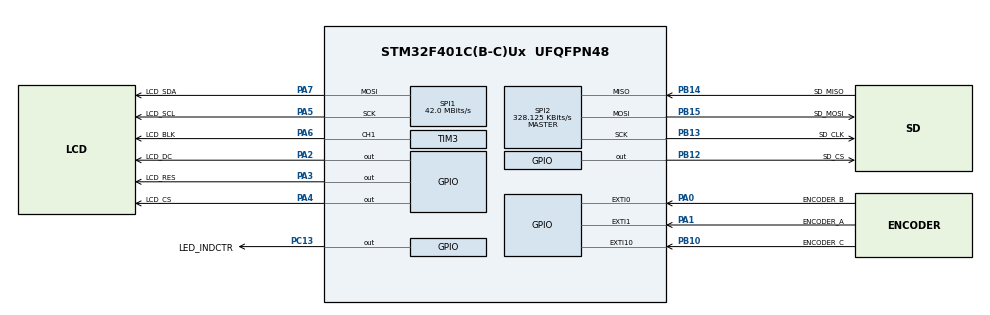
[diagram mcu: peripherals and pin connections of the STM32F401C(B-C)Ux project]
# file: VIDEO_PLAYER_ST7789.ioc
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Dma.Request0=SPI2_RX
Dma.Request1=SPI2_TX
Dma.Request2=SPI1_TX
Dma.SPI1_TX.2.Direction=DMA_MEMORY_TO_PERIPH
Dma.SPI1_TX.2.FIFOMode=DMA_FIFOMODE_ENABLE
Dma.SPI1_TX.2.FIFOThreshold=DMA_FIFO_THRESHOLD_FULL
Dma.SPI1_TX.2.Instance=DMA2_Stream3
Dma.SPI1_TX.2.MemBurst=DMA_MBURST_INC8
Dma.SPI1_TX.2.MemDataAlignment=DMA_MDATAALIGN_HALFWORD
Dma.SPI1_TX.2.MemInc=DMA_MINC_ENABLE
Dma.SPI1_TX.2.Mode=DMA_NORMAL
Dma.SPI1_TX.2.PeriphBurst=DMA_PBURST_SINGLE
Dma.SPI1_TX.2.PeriphDataAlignment=DMA_PDATAALIGN_HALFWORD
Dma.SPI1_TX.2.PeriphInc=DMA_PINC_DISABLE
Dma.SPI1_TX.2.Priority=DMA_PRIORITY_LOW
Dma.SPI2_RX.0.Direction=DMA_PERIPH_TO_MEMORY
Dma.SPI2_RX.0.FIFOMode=DMA_FIFOMODE_ENABLE
Dma.SPI2_RX.0.FIFOThreshold=DMA_FIFO_THRESHOLD_FULL
Dma.SPI2_RX.0.Instance=DMA1_Stream3
Dma.SPI2_RX.0.MemBurst=DMA_MBURST_INC8
Dma.SPI2_RX.0.MemDataAlignment=DMA_MDATAALIGN_BYTE
Dma.SPI2_RX.0.MemInc=DMA_MINC_ENABLE
Dma.SPI2_RX.0.Mode=DMA_NORMAL
Dma.SPI2_RX.0.PeriphBurst=DMA_PBURST_SINGLE
Dma.SPI2_RX.0.PeriphDataAlignment=DMA_PDATAALIGN_BYTE
Dma.SPI2_RX.0.PeriphInc=DMA_PINC_DISABLE
Dma.SPI2_RX.0.Priority=DMA_PRIORITY_MEDIUM
Dma.SPI2_TX.1.Direction=DMA_MEMORY_TO_PERIPH
Dma.SPI2_TX.1.FIFOMode=DMA_FIFOMODE_ENABLE
Dma.SPI2_TX.1.FIFOThreshold=DMA_FIFO_THRESHOLD_FULL
Dma.SPI2_TX.1.Instance=DMA1_Stream4
Dma.SPI2_TX.1.MemBurst=DMA_MBURST_INC8
Dma.SPI2_TX.1.MemDataAlignment=DMA_MDATAALIGN_BYTE
Dma.SPI2_TX.1.MemInc=DMA_MINC_ENABLE
Dma.SPI2_TX.1.Mode=DMA_NORMAL
Dma.SPI2_TX.1.PeriphBurst=DMA_PBURST_SINGLE
Dma.SPI2_TX.1.PeriphDataAlignment=DMA_PDATAALIGN_BYTE
Dma.SPI2_TX.1.PeriphInc=DMA_PINC_DISABLE
Dma.SPI2_TX.1.Priority=DMA_PRIORITY_MEDIUM
Mcu.Family=STM32F4
Mcu.Name=STM32F401C(B-C)Ux
Mcu.Package=UFQFPN48
NVIC.DMA1_Stream3_IRQn=true\:2\:0\:true\:false\:true\:false\:true\:true
NVIC.DMA1_Stream4_IRQn=true\:2\:0\:true\:false\:true\:false\:true\:true
NVIC.DMA2_Stream3_IRQn=true\:3\:0\:true\:false\:true\:false\:true\:true
NVIC.EXTI0_IRQn=true\:1\:0\:true\:false\:true\:true\:true\:true
NVIC.EXTI15_10_IRQn=true\:1\:0\:true\:false\:true\:true\:true\:true
NVIC.EXTI1_IRQn=true\:1\:0\:true\:false\:true\:true\:true\:true
NVIC.PriorityGroup=NVIC_PRIORITYGROUP_4
PA0-WKUP.GPIO_Label=ENCODER_B
PA0-WKUP.GPIO_ModeDefaultEXTI=GPIO_MODE_IT_RISING_FALLING
PA0-WKUP.GPIO_PuPd=GPIO_PULLUP
PA0-WKUP.Signal=GPXTI0
PA1.GPIO_Label=ENCODER_A
PA1.GPIO_ModeDefaultEXTI=GPIO_MODE_IT_RISING_FALLING
PA1.GPIO_PuPd=GPIO_PULLUP
PA1.Signal=GPXTI1
PA13.Mode=Serial_Wire
PA13.Signal=SYS_JTMS-SWDIO
PA14.Mode=Serial_Wire
PA14.Signal=SYS_JTCK-SWCLK
PA2.GPIO_Label=LCD_DC
PA2.GPIO_Speed=GPIO_SPEED_FREQ_HIGH
PA2.PinState=GPIO_PIN_SET
PA2.Signal=GPIO_Output
PA3.GPIO_Label=LCD_RES
PA3.GPIO_Speed=GPIO_SPEED_FREQ_HIGH
PA3.PinState=GPIO_PIN_SET
PA3.Signal=GPIO_Output
PA4.GPIO_Label=LCD_CS
PA4.GPIO_PuPd=GPIO_PULLUP
PA4.GPIO_Speed=GPIO_SPEED_FREQ_HIGH
PA4.PinState=GPIO_PIN_SET
PA4.Signal=GPIO_Output
PA5.GPIO_Label=LCD_SCL
PA5.GPIO_PuPd=GPIO_PULLUP
PA5.Mode=TX_Only_Simplex_Unidirect_Master
PA5.Signal=SPI1_SCK
PA6.GPIO_Label=LCD_BLK
PA6.Signal=S_TIM3_CH1
PA7.GPIO_Label=LCD_SDA
PA7.GPIO_PuPd=GPIO_PULLUP
PA7.Mode=TX_Only_Simplex_Unidirect_Master
PA7.Signal=SPI1_MOSI
PB10.GPIO_Label=ENCODER_C
PB10.GPIO_ModeDefaultEXTI=GPIO_MODE_IT_RISING_FALLING
PB10.GPIO_PuPd=GPIO_PULLUP
PB10.Signal=GPXTI10
PB12.GPIO_Label=SD_CS
PB12.GPIO_PuPd=GPIO_PULLUP
PB12.GPIO_Speed=GPIO_SPEED_FREQ_HIGH
PB12.PinState=GPIO_PIN_SET
PB12.Signal=GPIO_Output
PB13.GPIO_Label=SD_CLK
PB13.GPIO_PuPd=GPIO_PULLUP
PB13.Mode=Full_Duplex_Master
PB13.Signal=SPI2_SCK
PB14.GPIO_Label=SD_MISO
PB14.GPIO_PuPd=GPIO_PULLUP
PB14.Mode=Full_Duplex_Master
PB14.Signal=SPI2_MISO
PB15.GPIO_Label=SD_MOSI
PB15.GPIO_PuPd=GPIO_PULLUP
PB15.Mode=Full_Duplex_Master
PB15.Signal=SPI2_MOSI
PC13-ANTI_TAMP.GPIO_Label=LED_INDCTR
PC13-ANTI_TAMP.PinState=GPIO_PIN_SET
PC13-ANTI_TAMP.Signal=GPIO_Output
PH0\ -\ OSC_IN.Mode=HSE-External-Oscillator
PH0\ -\ OSC_IN.Signal=RCC_OSC_IN
PH1\ -\ OSC_OUT.Mode=HSE-External-Oscillator
PH1\ -\ OSC_OUT.Signal=RCC_OSC_OUT
ProjectManager.HeapSize=0x200
ProjectManager.StackSize=0x400
ProjectManager.TargetToolchain=STM32CubeIDE
RCC.48MHZClocksFreq_Value=42000000
RCC.AHBFreq_Value=84000000
RCC.APB1CLKDivider=RCC_HCLK_DIV2
RCC.APB1Freq_Value=42000000
RCC.APB1TimFreq_Value=84000000
RCC.APB2Freq_Value=84000000
RCC.APB2TimFreq_Value=84000000
RCC.CortexFreq_Value=84000000
RCC.EnbaleCSS=true
RCC.HCLKFreq_Value=84000000
RCC.HSE_VALUE=25000000
RCC.HSI_VALUE=16000000
RCC.LSE_VALUE=32768
RCC.PLLM=25
RCC.PLLN=168
RCC.PLLSourceVirtual=RCC_PLLSOURCE_HSE
RCC.SYSCLKFreq_VALUE=84000000
RCC.SYSCLKSource=RCC_SYSCLKSOURCE_PLLCLK
RCC.VCOOutputFreq_Value=168000000
RCC.VDD_VALUE=3.3
SH.S_TIM3_CH1.0=TIM3_CH1,PWM Generation1 CH1
SPI1.CLKPolarity=SPI_POLARITY_HIGH
SPI1.CalculateBaudRate=42.0 MBits/s
SPI1.DataSize=SPI_DATASIZE_16BIT
SPI1.Direction=SPI_DIRECTION_2LINES
SPI1.Mode=SPI_MODE_MASTER
SPI1.VirtualType=VM_MASTER
SPI2.BaudRatePrescaler=SPI_BAUDRATEPRESCALER_128
SPI2.CalculateBaudRate=328.125 KBits/s
SPI2.DataSize=SPI_DATASIZE_8BIT
SPI2.Direction=SPI_DIRECTION_2LINES
SPI2.Mode=SPI_MODE_MASTER
SPI2.VirtualType=VM_MASTER
TIM3.Channel-PWM\ Generation1\ CH1=TIM_CHANNEL_1
TIM3.Period=209
TIM3.Prescaler=999
TIM3.Pulse-PWM\ Generation1\ CH1=105
board=custom

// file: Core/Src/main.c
/* USER CODE BEGIN Header */
/*
  * Copyright (C)2019-2023, VadRov, all rights reserved.
  *
  * Video player for playing AVI files (file with avi extension, riff container)
  *
  * Free distribution allowed.
  * For any method of distribution, attribution to the author is MANDATORY.
  * In case of changes and distribution of modifications, the indication of the original author is MANDATORY.
  * Distributed “as is”, that is, use is at your own peril and risk.
  * The author does not provide any guarantees.
  *
  * AVI format requirements:
  * - mjpeg (motion jpeg) video stream, i.e. video frames must be encoded with a jpeg codec;
  * - mp3 audio stream, i.e. The sound must be encoded with an mp3 codec.
  *
  * Select the image frame size based on the parameters of your existing display.
  * To convert a video file to a format supported by the player, it is recommended to use
  * ffmpeg library. For example, the following command line will convert mp4 video to
  * avi format supported by the player with a frame size of 320x240, a frequency of 25 frames per second,
  * with encoding quality 15:
  * ffmpeg -i video.mp4 -c:a mp3 -c:v mjpeg -s 320x240 -r 25 -q 15 video.avi
  *  Where:
  * -i video.mp4 - pointing to the source file that you want to convert to a supported one
  * player avi format;
  * video.avi - output file with the avi extension in which the conversion result will be saved;
  * -c:a mp3 - an indication that the “sound track” (audio stream) in the output file should be in
  * mp3 codec format;
  * -c:v mjpeg - an indication that the “video track” (video stream) in the output file should be in the format
  * mjpeg codec (a set of pictures encoded with the jpeg codec, so-called motion jpeg);
  * -s 320x240 - indication of the video frame size in the output avi file (width, height);
  * -r 25 - indication of the frequency of video frames in the output avi file (frames per second);
  * -q 15 - indicates the encoding quality of the avi file (from 1 (best) to 31 (worst)).
  * Sound quality can be set with the -b key, meaning bitrate (bit/s).
  * For example, a switch such as -b:a 128k will set the audio stream to 128 kbps, which is considered
  * for an entry-level mp3 codec when encoding music data (32-96 kbps is enough for
  * speech coding, and from 96 kbit/s and more - low quality music). A stream of 256 kbit/s is sufficient
  * for high quality music when encoding mp3. 320 kbps is the limit for the mp3 codec.
  * When converting videos, consider the aspect ratio of the original video. For example, if
  * the original video had an aspect ratio of 16:9, then when using a display with a width of 320
  * pixels, the height of the output frame should be 180 pixels. Those. parameter s for given
  * example must be specified as 320x180. If the aspect ratio of the original frame is 4:3, then when
  * When using a 320 pixel wide display, the output frame height should be 240 pixels.
  * That is the s parameter for this example should be specified as 320x240.
  * Parameter q determines the encoding quality and can take values from 1 to 31. With increasing
  * q quality decreases, and with decrease it increases. This parameter naturally affects
  * on the performance of the software jpeg decoder. The golden mean of this parameter is 15-20. At value 15
  * for stm32f401ccu6 operating at a frequency of 84 MHz, the jpeg decoder for a frame size 320x240 shows
  * performance from 11 to 25 frames per second (40 - 90 ms to decode one image frame),
  * simultaneously decoding mp3 stream.
  * The player provides good synchronization of audio and video streams. Moreover, the calculation of time
  * playback, and, accordingly, synchronization of audio with video is carried out by interruptions
  * DMA stream serving DAC. In the interrupt of the DMA thread serving the DAC, the counter is incremented
  * playback duration, calculated from audio frames, by the amount of audio playback duration
  * frame, determined by the formula:
  *d = 1000000 *samples/samplerate,
  * where samples is the number of samples in the frame, samplerate is the sampling/sampling frequency (Hz),
  * d - duration of playback of a sound frame (μs).
  * Thus, playback is not tied to real time. Progression of the player's internal time
  * sets the clocking of the I2S module. The discrepancy from real time is determined by the difference between the given
  * and actual sampling/sampling frequency. So, for a sampling frequency of 44100 Hz, the real
  *sampling frequency is 44100.46875 Hz with 16-bit data format and 44099.50781 Hz
  * with 32-bit data format when using a 25 MHz quartz resonator and a built-in module
  * I2S PLL stm32f401ccu6. Those. in both cases the error does not exceed 0.0011% (see table 91, RM0368 REV 5).
  * Synchronization of audio and video is carried out within the display time of one video frame. This time
 *  https://www.youtube.com/@VadRov
 *  https://dzen.ru/vadrov
 *  https://vk.com/vadrov
 *  https://t.me/vadrov_channel
 */
/* USER CODE END Header */
#include "main.h"

/* USER CODE BEGIN Includes */
#include "display.h" 		//display driver
#include "st7789.h"
#include "ili9341.h" 		//display support based on ili9341 controller
#include "pcm5102.h" 		//DAC driver PCM5102
#include "ff.h"		 		//FatFS library
#include "avi.h"	 		//AVI player
#include "filemanager.h"	//file manager
#include "keyboard.h"		//module for working with buttons
#include "encoder.h"		//encoder driver
/* USER CODE END Includes */

/* USER CODE BEGIN PTD */

//counter of "system time", ms
volatile uint32_t millis = 0;

//Variables for the FatFs library
char Path[4];
FATFS FatFS;

//Encoder handler
ENCODER_Handler encoder1;

/* USER CODE END PTD */

void SystemClock_Config(void);
static void MX_GPIO_Init(void);
static void MX_DMA_Init(void);
static void MX_SPI2_Init(void);
static void MX_SPI1_Init(void);
static void MX_TIM3_Init(void);

/* USER CODE BEGIN 0 */

static void DWT_init (void)
{
	if (!(CoreDebug->DEMCR & CoreDebug_DEMCR_TRCENA_Msk))	{
		CoreDebug->DEMCR |= CoreDebug_DEMCR_TRCENA_Msk;
	#ifdef __CORE_CM7_H_GENERIC
	        DWT->LAR = 0xC5ACCE55;  //unlocking access to the DWT register
	#endif
	   DWT->CYCCNT = 0;
	   DWT->CTRL |= DWT_CTRL_CYCCNTENA_Msk;
	}
}

/* USER CODE END 0 */

int main(void)
{

  /* USER CODE BEGIN 1 */
	/* enable instruction caching */
	#if (INSTRUCTION_CACHE_ENABLE != 0U)
	((FLASH_TypeDef *) ((0x40000000UL + 0x00020000UL) + 0x3C00UL))->ACR |= (0x1UL << (9U));
	#endif
	/* enable data caching */
	#if (DATA_CACHE_ENABLE != 0U)
	((FLASH_TypeDef *) ((0x40000000UL + 0x00020000UL) + 0x3C00UL))->ACR |= (0x1UL << (10U));
	#endif
	/* enable the instruction prefetching system */
	#if (PREFETCH_ENABLE != 0U)
	((FLASH_TypeDef *) ((0x40000000UL + 0x00020000UL) + 0x3C00UL))->ACR |= (0x1UL << (8U));
	#endif
  /* USER CODE END 1 */

  /* MCU Configuration--------------------------------------------------------*/

  /* Reset of all peripherals, Initializes the Flash interface and the Systick. */
  LL_APB2_GRP1_EnableClock(LL_APB2_GRP1_PERIPH_SYSCFG);
  LL_APB1_GRP1_EnableClock(LL_APB1_GRP1_PERIPH_PWR);

  /* System interrupt init*/
  NVIC_SetPriorityGrouping(NVIC_PRIORITYGROUP_4);

  /* SysTick_IRQn interrupt configuration */
  NVIC_SetPriority(SysTick_IRQn, NVIC_EncodePriority(NVIC_GetPriorityGrouping(),15, 0));

  /* Configure the system clock */
  SystemClock_Config();

  /* USER CODE BEGIN SysInit */
  //set up the system timer (interrupts 1000 times per second)
  SysTick_Config(SystemCoreClock/1000);
  /* USER CODE END SysInit */

  /* Initialize all configured peripherals */
  MX_GPIO_Init();
  MX_DMA_Init();
  MX_SPI2_Init();
  MX_SPI1_Init();
  MX_TIM3_Init();
  /* USER CODE BEGIN 2 */

  //Initialize I2S3
  Init_DAC();
    //Setup_DAC(SPI3, 44100, LL_I2S_DATAFORMAT_16B);

  DWT_init();

	//-------------------Setting parameters and initializing the display ---------------------
	LCD_BackLight_data bl_dat = { .htim_bk = TIM3,
		  	  	  	  	  	  	  .channel_htim_bk = LL_TIM_CHANNEL_CH1,
    							  .blk_port = 0,
    							  .blk_pin = 0,
    							  .bk_percent = 100 };

	LCD_DMA_TypeDef hdma_spi1_tx = { .dma = DMA2,
		  	  	  	  	  	  	     .stream = LL_DMA_STREAM_3 };

	LCD_SPI_Connected_data spi_dat = { .spi = SPI1,
  		  							   .dma_tx = hdma_spi1_tx,
   									   .reset_port = LCD_RES_GPIO_Port,
   									   .reset_pin = LCD_RES_Pin,
   									   .dc_port = LCD_DC_GPIO_Port,
   									   .dc_pin = LCD_DC_Pin,
   									   .cs_port = LCD_CS_GPIO_Port,
   									   .cs_pin = LCD_CS_Pin  };
	#ifndef LCD_DYNAMIC_MEM
	LCD_Handler lcd1;
	#endif

	//For display on controller ST7789 170x320
	//ffmpeg -i che.mp4 -c:a mp3 -c:v mjpeg -s 320x170 -r 23.98 -q 10 che.avi
	LCD = LCD_DisplayAdd( LCD,
	#ifndef LCD_DYNAMIC_MEM
			  	  	  	  	&lcd1,
	#endif
			  	  	  	  	170,//170
			   				320,//320
							ST7789_CONTROLLER_WIDTH,
							ST7789_CONTROLLER_HEIGHT,
							//Задаем смещение по ширине и высоте для нестандартных или бракованных дисплеев:
							-35,//-35
							0,//0
							PAGE_ORIENTATION_LANDSCAPE,// PAGE_ORIENTATION_LANDSCAPE
							ST7789_Init,
							ST7789_SetWindow,
							ST7789_SleepIn,
							ST7789_SleepOut,
							&spi_dat,
							LCD_DATA_16BIT_BUS,
							bl_dat);

	/*
	//For display on controller ST7789 135x240
	//ffmpeg -i che.mp4 -c:a mp3 -c:v mjpeg -s 240x135 -r 23.98 -q 10 che.avi
	LCD = LCD_DisplayAdd( LCD,
	#ifndef LCD_DYNAMIC_MEM
			  	  	  	  	&lcd1,
	#endif
			  	  	  	  	135,//170
			   				240,//320
							ST7789_CONTROLLER_WIDTH,
							ST7789_CONTROLLER_HEIGHT,
							//Задаем смещение по ширине и высоте для нестандартных или бракованных дисплеев:
							-53,//-35
							40,//0
							PAGE_ORIENTATION_LANDSCAPE,// PAGE_ORIENTATION_LANDSCAPE
							ST7789_Init,
							ST7789_SetWindow,
							ST7789_SleepIn,
							ST7789_SleepOut,
							&spi_dat,
							LCD_DATA_16BIT_BUS,
							bl_dat);
	*/

	/*
	//For display on controller ILI9341
	LCD = LCD_DisplayAdd( LCD,
	#ifndef LCD_DYNAMIC_MEM
		  	  	  	  	  &lcd1,
	#endif
		  	  	  	  	  320,
		   				  240,
						  ILI9341_CONTROLLER_WIDTH,
						  ILI9341_CONTROLLER_HEIGHT,
						  //Set the offset in width and height for non-standard or defective displays:
						  0,		//display matrix width offset
						  0,		//display matrix height offset
						  //PAGE_ORIENTATION_PORTRAIT,
						  //PAGE_ORIENTATION_PORTRAIT_MIRROR,
						  PAGE_ORIENTATION_LANDSCAPE_MIRROR,
						  ILI9341_Init,
						  ILI9341_SetWindow,
						  ILI9341_SleepIn,
						  ILI9341_SleepOut,
						  &spi_dat,
						  LCD_DATA_16BIT_BUS,
						  bl_dat );
	*/

	LCD_Handler *lcd = LCD; //pointer to the first display in the list
	LCD_Init(lcd);
	LCD_Fill(lcd, 0x319bb1);
	//------------------------------------------------------------------------------------------

	//----------------------------------- Mounting the disc -----------------------------------
	(void)f_mount(&FatFS, Path, 0);
	//------------------------------------------------------------------------------------------

	/* ----------------------------Setting up a file manager ---------------------------- */
	/* Define a color scheme */
	File_Manager_Color_Scheme color_scheme_pl = { COLOR_YELLOW,		/* directory name text color */
			  	  	  	  	  	  	  	  	  	  COLOR_WHITE,		/* file name text color */
												  COLOR_BLACK,		/* text color of the selected file/directory */
												  0x319bb1,			/* manager window background color (for empty lines) */
												  0x319bb1,			/* background color of even rows */
												  0x319bb1,			/* background color of odd rows */
												  COLOR_LIGHTGREY,	/* cursor color of the current file/directory */
												  COLOR_LIGHTGREY,	/* vertical scroll slider color */
												  0x319bb1,			/* vertical scroll bar color */
												  1					/* cursor color flag:
																  	  	  0 - the text of the selected file/directory is circled
																  	  	  	  cursor color rectangle (cursor_color).
														 	 	  	  	  >0 -the text background of the selected file/directory is equal to
														 	 	  	  	  	  cursor color (cursor_color) */
												 	 };

	File_Manager_Handler *fm = FileManagerNew();	/* Creating a File Manager Handler */
	fm->SetDisplay(fm, lcd);						/* Display showing the file manager (pointer) */
	fm->SetWin(fm, 6, 0, lcd->Width-6, lcd->Height);/* File manager window options:
	  	  	  	  	  	  	  	  	  	  	  	  	   - horizontal position of the upper left corner of the window;
	  	  	  	  	  	  	  	  	  	  	  	  	   - vertical position of the upper left corner of the window;
	  	  	  	  	  	  	  	  	  	  	  	  	   - window width;
	  	  	  	  	  	  	  	  	  	  	  	  	   - window height. */
	fm->SetColor(fm, &color_scheme_pl);				 /* Color scheme (index) */
	fm->SetFont(fm, &Font_12x20);					 /* Font (pointer) */
	fm->SetKeys(fm, KEYB_UP, KEYB_DOWN, KEYB_RIGHT); /* Control buttons:
	   	   	   	   	   	   	   	   	   	   	   	   	    - button bit number up;
	   	   	   	   	   	   	   	   	   	   	   	   	    - button bit number down;
	   	   	   	   	   	   	   	   	   	   	   	   	    - bit number of the enter/select button. */
	//-----------------------------------------------------------------------------------------

	//---------------------------------- Encoder settings ----------- -----------------------
	//We will work with the Keyboard module and emulate pressing buttons for it via
	//special function that connects the encoder handler with the module for working with buttons.
	//This role is played by the EncoderEventToKeyboard function, located in the file stm32f4xx_it.c
	KEYB_all_button = 3; //Using 3 buttons for the Keyboard module
	//Initializing the encoder handler
	EncoderInit(&encoder1,
				ENCODER_A_GPIO_Port,
				ENCODER_A_Pin,
				ENCODER_B_GPIO_Port,
				ENCODER_B_Pin,
				ENCODER_C_GPIO_Port,
				ENCODER_C_Pin);
	EncoderSetInversion(&encoder1, ENCODER_INV_OFF); //If the encoder works in the opposite direction
													 //from the expected direction, then here you can set
													 //inversion for the encoder by passing the ENCODER_INV_ON parameter to the function.
													 //This will avoid reconnecting encoder pins A and B.
	//------------------------------------------------------------------------------------------

	//Splash screen with information about the program and author
	//AVIIntro(lcd);
	LL_mDelay(50);
	uint8_t f_popup = 1;
  /* USER CODE END 2 */

  /* Infinite loop */
  /* USER CODE BEGIN WHILE */
    while (1)
    {
    	/* Fill the display with blue (the background color of the file manager) */
    	LCD_Fill(lcd, 0x319bb1);
    	/* "Pop-up" window of the file manager */
		if (f_popup) {
			FileManagerPopupWin(fm, 5);
			f_popup = 0;
		}
		/* Launch file manager */
		fm->Show(fm);
		/* Check the shutdown status of the file manager */
		if (fm->GetStatus(fm) == File_Manager_OK) { /* Completing without errors with file selection? */
			/* Launch the video player */
			PlayAVI(fm->GetFilePath(fm), fm->GetFileName(fm), lcd, 0, 0, lcd->Width, lcd->Height);
		}
		else {
			/* Display a message that the file manager completed with an error */
			LCD_WriteString(lcd, 20, 0, "Error FileManager!", fm->font, fm->color_scheme->text_color_file, fm->color_scheme->bg_color, LCD_SYMBOL_PRINT_FAST);
			/* Wait for any button to be pressed */
			while(!KEYB_kbhit()) { }
		}

    /* USER CODE END WHILE */

    }
}

void SystemClock_Config(void)
{
  LL_FLASH_SetLatency(LL_FLASH_LATENCY_2);
  while(LL_FLASH_GetLatency()!= LL_FLASH_LATENCY_2)
  {
  }
  LL_PWR_SetRegulVoltageScaling(LL_PWR_REGU_VOLTAGE_SCALE2);
  LL_RCC_HSE_Enable();

   /* Wait till HSE is ready */
  while(LL_RCC_HSE_IsReady() != 1)
  {

  }
  LL_RCC_HSE_EnableCSS();
  LL_RCC_PLL_ConfigDomain_SYS(LL_RCC_PLLSOURCE_HSE, LL_RCC_PLLM_DIV_25, 168, LL_RCC_PLLP_DIV_2);
  LL_RCC_PLL_Enable();

   /* Wait till PLL is ready */
  while(LL_RCC_PLL_IsReady() != 1)
  {

  }
  while (LL_PWR_IsActiveFlag_VOS() == 0)
  {
  }
  LL_RCC_SetAHBPrescaler(LL_RCC_SYSCLK_DIV_1);
  LL_RCC_SetAPB1Prescaler(LL_RCC_APB1_DIV_2);
  LL_RCC_SetAPB2Prescaler(LL_RCC_APB2_DIV_1);
  LL_RCC_SetSysClkSource(LL_RCC_SYS_CLKSOURCE_PLL);

   /* Wait till System clock is ready */
  while(LL_RCC_GetSysClkSource() != LL_RCC_SYS_CLKSOURCE_STATUS_PLL)
  {

  }
  LL_Init1msTick(84000000);
  LL_SetSystemCoreClock(84000000);
  LL_RCC_SetTIMPrescaler(LL_RCC_TIM_PRESCALER_TWICE);
}

static void MX_SPI1_Init(void)
{

  LL_SPI_InitTypeDef SPI_InitStruct = {0};

  LL_GPIO_InitTypeDef GPIO_InitStruct = {0};

  /* Peripheral clock enable */
  LL_APB2_GRP1_EnableClock(LL_APB2_GRP1_PERIPH_SPI1);

  LL_AHB1_GRP1_EnableClock(LL_AHB1_GRP1_PERIPH_GPIOA);
  /**SPI1 GPIO Configuration
  PA5   ------> SPI1_SCK
  PA7   ------> SPI1_MOSI
  */
  GPIO_InitStruct.Pin = LCD_SCL_Pin|LCD_SDA_Pin;
  GPIO_InitStruct.Mode = LL_GPIO_MODE_ALTERNATE;
  GPIO_InitStruct.Speed = LL_GPIO_SPEED_FREQ_VERY_HIGH;
  GPIO_InitStruct.OutputType = LL_GPIO_OUTPUT_PUSHPULL;
  GPIO_InitStruct.Pull = LL_GPIO_PULL_UP;
  GPIO_InitStruct.Alternate = LL_GPIO_AF_5;
  LL_GPIO_Init(GPIOA, &GPIO_InitStruct);

  /* SPI1 DMA Init */

  /* SPI1_TX Init */
  LL_DMA_SetChannelSelection(DMA2, LL_DMA_STREAM_3, LL_DMA_CHANNEL_3);

  LL_DMA_SetDataTransferDirection(DMA2, LL_DMA_STREAM_3, LL_DMA_DIRECTION_MEMORY_TO_PERIPH);

  LL_DMA_SetStreamPriorityLevel(DMA2, LL_DMA_STREAM_3, LL_DMA_PRIORITY_LOW);

  LL_DMA_SetMode(DMA2, LL_DMA_STREAM_3, LL_DMA_MODE_NORMAL);

  LL_DMA_SetPeriphIncMode(DMA2, LL_DMA_STREAM_3, LL_DMA_PERIPH_NOINCREMENT);

  LL_DMA_SetMemoryIncMode(DMA2, LL_DMA_STREAM_3, LL_DMA_MEMORY_INCREMENT);

  LL_DMA_SetPeriphSize(DMA2, LL_DMA_STREAM_3, LL_DMA_PDATAALIGN_HALFWORD);

  LL_DMA_SetMemorySize(DMA2, LL_DMA_STREAM_3, LL_DMA_MDATAALIGN_HALFWORD);

  LL_DMA_EnableFifoMode(DMA2, LL_DMA_STREAM_3);

  LL_DMA_SetFIFOThreshold(DMA2, LL_DMA_STREAM_3, LL_DMA_FIFOTHRESHOLD_FULL);

  LL_DMA_SetMemoryBurstxfer(DMA2, LL_DMA_STREAM_3, LL_DMA_MBURST_INC8);

  LL_DMA_SetPeriphBurstxfer(DMA2, LL_DMA_STREAM_3, LL_DMA_PBURST_SINGLE);

  /* SPI1 parameter configuration*/
  SPI_InitStruct.TransferDirection = LL_SPI_FULL_DUPLEX;
  SPI_InitStruct.Mode = LL_SPI_MODE_MASTER;
  SPI_InitStruct.DataWidth = LL_SPI_DATAWIDTH_16BIT;
  SPI_InitStruct.ClockPolarity = LL_SPI_POLARITY_HIGH;
  SPI_InitStruct.ClockPhase = LL_SPI_PHASE_1EDGE;
  SPI_InitStruct.NSS = LL_SPI_NSS_SOFT;
  SPI_InitStruct.BaudRate = LL_SPI_BAUDRATEPRESCALER_DIV2;
  SPI_InitStruct.BitOrder = LL_SPI_MSB_FIRST;
  SPI_InitStruct.CRCCalculation = LL_SPI_CRCCALCULATION_DISABLE;
  SPI_InitStruct.CRCPoly = 10;
  LL_SPI_Init(SPI1, &SPI_InitStruct);
  LL_SPI_SetStandard(SPI1, LL_SPI_PROTOCOL_MOTOROLA);

}

static void MX_SPI2_Init(void)
{

  LL_SPI_InitTypeDef SPI_InitStruct = {0};

  LL_GPIO_InitTypeDef GPIO_InitStruct = {0};

  /* Peripheral clock enable */
  LL_APB1_GRP1_EnableClock(LL_APB1_GRP1_PERIPH_SPI2);

  LL_AHB1_GRP1_EnableClock(LL_AHB1_GRP1_PERIPH_GPIOB);
  /**SPI2 GPIO Configuration
  PB13   ------> SPI2_SCK
  PB14   ------> SPI2_MISO
  PB15   ------> SPI2_MOSI
  */
  GPIO_InitStruct.Pin = SD_CLK_Pin|SD_MISO_Pin|SD_MOSI_Pin;
  GPIO_InitStruct.Mode = LL_GPIO_MODE_ALTERNATE;
  GPIO_InitStruct.Speed = LL_GPIO_SPEED_FREQ_VERY_HIGH;
  GPIO_InitStruct.OutputType = LL_GPIO_OUTPUT_PUSHPULL;
  GPIO_InitStruct.Pull = LL_GPIO_PULL_UP;
  GPIO_InitStruct.Alternate = LL_GPIO_AF_5;
  LL_GPIO_Init(GPIOB, &GPIO_InitStruct);

  /* SPI2 DMA Init */

  /* SPI2_RX Init */
  LL_DMA_SetChannelSelection(DMA1, LL_DMA_STREAM_3, LL_DMA_CHANNEL_0);

  LL_DMA_SetDataTransferDirection(DMA1, LL_DMA_STREAM_3, LL_DMA_DIRECTION_PERIPH_TO_MEMORY);

  LL_DMA_SetStreamPriorityLevel(DMA1, LL_DMA_STREAM_3, LL_DMA_PRIORITY_MEDIUM);

  LL_DMA_SetMode(DMA1, LL_DMA_STREAM_3, LL_DMA_MODE_NORMAL);

  LL_DMA_SetPeriphIncMode(DMA1, LL_DMA_STREAM_3, LL_DMA_PERIPH_NOINCREMENT);

  LL_DMA_SetMemoryIncMode(DMA1, LL_DMA_STREAM_3, LL_DMA_MEMORY_INCREMENT);

  LL_DMA_SetPeriphSize(DMA1, LL_DMA_STREAM_3, LL_DMA_PDATAALIGN_BYTE);

  LL_DMA_SetMemorySize(DMA1, LL_DMA_STREAM_3, LL_DMA_MDATAALIGN_BYTE);

  LL_DMA_EnableFifoMode(DMA1, LL_DMA_STREAM_3);

  LL_DMA_SetFIFOThreshold(DMA1, LL_DMA_STREAM_3, LL_DMA_FIFOTHRESHOLD_FULL);

  LL_DMA_SetMemoryBurstxfer(DMA1, LL_DMA_STREAM_3, LL_DMA_MBURST_INC8);

  LL_DMA_SetPeriphBurstxfer(DMA1, LL_DMA_STREAM_3, LL_DMA_PBURST_SINGLE);

  /* SPI2_TX Init */
  LL_DMA_SetChannelSelection(DMA1, LL_DMA_STREAM_4, LL_DMA_CHANNEL_0);

  LL_DMA_SetDataTransferDirection(DMA1, LL_DMA_STREAM_4, LL_DMA_DIRECTION_MEMORY_TO_PERIPH);

  LL_DMA_SetStreamPriorityLevel(DMA1, LL_DMA_STREAM_4, LL_DMA_PRIORITY_MEDIUM);

  LL_DMA_SetMode(DMA1, LL_DMA_STREAM_4, LL_DMA_MODE_NORMAL);

  LL_DMA_SetPeriphIncMode(DMA1, LL_DMA_STREAM_4, LL_DMA_PERIPH_NOINCREMENT);

  LL_DMA_SetMemoryIncMode(DMA1, LL_DMA_STREAM_4, LL_DMA_MEMORY_INCREMENT);

  LL_DMA_SetPeriphSize(DMA1, LL_DMA_STREAM_4, LL_DMA_PDATAALIGN_BYTE);

  LL_DMA_SetMemorySize(DMA1, LL_DMA_STREAM_4, LL_DMA_MDATAALIGN_BYTE);

  LL_DMA_EnableFifoMode(DMA1, LL_DMA_STREAM_4);

  LL_DMA_SetFIFOThreshold(DMA1, LL_DMA_STREAM_4, LL_DMA_FIFOTHRESHOLD_FULL);

  LL_DMA_SetMemoryBurstxfer(DMA1, LL_DMA_STREAM_4, LL_DMA_MBURST_INC8);

  LL_DMA_SetPeriphBurstxfer(DMA1, LL_DMA_STREAM_4, LL_DMA_PBURST_SINGLE);

  /* SPI2 parameter configuration*/
  SPI_InitStruct.TransferDirection = LL_SPI_FULL_DUPLEX;
  SPI_InitStruct.Mode = LL_SPI_MODE_MASTER;
  SPI_InitStruct.DataWidth = LL_SPI_DATAWIDTH_8BIT;
  SPI_InitStruct.ClockPolarity = LL_SPI_POLARITY_LOW;
  SPI_InitStruct.ClockPhase = LL_SPI_PHASE_1EDGE;
  SPI_InitStruct.NSS = LL_SPI_NSS_SOFT;
  SPI_InitStruct.BaudRate = LL_SPI_BAUDRATEPRESCALER_DIV128;
  SPI_InitStruct.BitOrder = LL_SPI_MSB_FIRST;
  SPI_InitStruct.CRCCalculation = LL_SPI_CRCCALCULATION_DISABLE;
  SPI_InitStruct.CRCPoly = 10;
  LL_SPI_Init(SPI2, &SPI_InitStruct);
  LL_SPI_SetStandard(SPI2, LL_SPI_PROTOCOL_MOTOROLA);

}

static void MX_TIM3_Init(void)
{

  LL_TIM_InitTypeDef TIM_InitStruct = {0};
  LL_TIM_OC_InitTypeDef TIM_OC_InitStruct = {0};

  LL_GPIO_InitTypeDef GPIO_InitStruct = {0};

  /* Peripheral clock enable */
  LL_APB1_GRP1_EnableClock(LL_APB1_GRP1_PERIPH_TIM3);

  TIM_InitStruct.Prescaler = 999;
  TIM_InitStruct.CounterMode = LL_TIM_COUNTERMODE_UP;
  TIM_InitStruct.Autoreload = 209;
  TIM_InitStruct.ClockDivision = LL_TIM_CLOCKDIVISION_DIV1;
  LL_TIM_Init(TIM3, &TIM_InitStruct);
  LL_TIM_DisableARRPreload(TIM3);
  LL_TIM_OC_EnablePreload(TIM3, LL_TIM_CHANNEL_CH1);
  TIM_OC_InitStruct.OCMode = LL_TIM_OCMODE_PWM1;
  TIM_OC_InitStruct.OCState = LL_TIM_OCSTATE_DISABLE;
  TIM_OC_InitStruct.OCNState = LL_TIM_OCSTATE_DISABLE;
  TIM_OC_InitStruct.CompareValue = 105;
  TIM_OC_InitStruct.OCPolarity = LL_TIM_OCPOLARITY_HIGH;
  LL_TIM_OC_Init(TIM3, LL_TIM_CHANNEL_CH1, &TIM_OC_InitStruct);
  LL_TIM_OC_DisableFast(TIM3, LL_TIM_CHANNEL_CH1);
  LL_TIM_SetTriggerOutput(TIM3, LL_TIM_TRGO_RESET);
  LL_TIM_DisableMasterSlaveMode(TIM3);
  LL_AHB1_GRP1_EnableClock(LL_AHB1_GRP1_PERIPH_GPIOA);
  /**TIM3 GPIO Configuration
  PA6   ------> TIM3_CH1
  */
  GPIO_InitStruct.Pin = LCD_BLK_Pin;
  GPIO_InitStruct.Mode = LL_GPIO_MODE_ALTERNATE;
  GPIO_InitStruct.Speed = LL_GPIO_SPEED_FREQ_LOW;
  GPIO_InitStruct.OutputType = LL_GPIO_OUTPUT_PUSHPULL;
  GPIO_InitStruct.Pull = LL_GPIO_PULL_NO;
  GPIO_InitStruct.Alternate = LL_GPIO_AF_2;
  LL_GPIO_Init(LCD_BLK_GPIO_Port, &GPIO_InitStruct);

}

static void MX_DMA_Init(void)
{

  /* Init with LL driver */
  /* DMA controller clock enable */
  LL_AHB1_GRP1_EnableClock(LL_AHB1_GRP1_PERIPH_DMA1);
  LL_AHB1_GRP1_EnableClock(LL_AHB1_GRP1_PERIPH_DMA2);

  /* DMA interrupt init */
  /* DMA1_Stream3_IRQn interrupt configuration */
  NVIC_SetPriority(DMA1_Stream3_IRQn, NVIC_EncodePriority(NVIC_GetPriorityGrouping(),2, 0));
  NVIC_EnableIRQ(DMA1_Stream3_IRQn);
  /* DMA1_Stream4_IRQn interrupt configuration */
  NVIC_SetPriority(DMA1_Stream4_IRQn, NVIC_EncodePriority(NVIC_GetPriorityGrouping(),2, 0));
  NVIC_EnableIRQ(DMA1_Stream4_IRQn);
  /* DMA2_Stream3_IRQn interrupt configuration */
  NVIC_SetPriority(DMA2_Stream3_IRQn, NVIC_EncodePriority(NVIC_GetPriorityGrouping(),3, 0));
  NVIC_EnableIRQ(DMA2_Stream3_IRQn);

}

static void MX_GPIO_Init(void)
{
  LL_EXTI_InitTypeDef EXTI_InitStruct = {0};
  LL_GPIO_InitTypeDef GPIO_InitStruct = {0};

  /* GPIO Ports Clock Enable */
  LL_AHB1_GRP1_EnableClock(LL_AHB1_GRP1_PERIPH_GPIOC);
  LL_AHB1_GRP1_EnableClock(LL_AHB1_GRP1_PERIPH_GPIOH);
  LL_AHB1_GRP1_EnableClock(LL_AHB1_GRP1_PERIPH_GPIOA);
  LL_AHB1_GRP1_EnableClock(LL_AHB1_GRP1_PERIPH_GPIOB);

  /**/
  LL_GPIO_SetOutputPin(LED_INDCTR_GPIO_Port, LED_INDCTR_Pin);

  /**/
  LL_GPIO_SetOutputPin(GPIOA, LCD_DC_Pin|LCD_RES_Pin|LCD_CS_Pin);

  /**/
  LL_GPIO_SetOutputPin(SD_CS_GPIO_Port, SD_CS_Pin);

  /**/
  GPIO_InitStruct.Pin = LED_INDCTR_Pin;
  GPIO_InitStruct.Mode = LL_GPIO_MODE_OUTPUT;
  GPIO_InitStruct.Speed = LL_GPIO_SPEED_FREQ_LOW;
  GPIO_InitStruct.OutputType = LL_GPIO_OUTPUT_PUSHPULL;
  GPIO_InitStruct.Pull = LL_GPIO_PULL_NO;
  LL_GPIO_Init(LED_INDCTR_GPIO_Port, &GPIO_InitStruct);

  /**/
  GPIO_InitStruct.Pin = LCD_DC_Pin|LCD_RES_Pin;
  GPIO_InitStruct.Mode = LL_GPIO_MODE_OUTPUT;
  GPIO_InitStruct.Speed = LL_GPIO_SPEED_FREQ_HIGH;
  GPIO_InitStruct.OutputType = LL_GPIO_OUTPUT_PUSHPULL;
  GPIO_InitStruct.Pull = LL_GPIO_PULL_NO;
  LL_GPIO_Init(GPIOA, &GPIO_InitStruct);

  /**/
  GPIO_InitStruct.Pin = LCD_CS_Pin;
  GPIO_InitStruct.Mode = LL_GPIO_MODE_OUTPUT;
  GPIO_InitStruct.Speed = LL_GPIO_SPEED_FREQ_HIGH;
  GPIO_InitStruct.OutputType = LL_GPIO_OUTPUT_PUSHPULL;
  GPIO_InitStruct.Pull = LL_GPIO_PULL_UP;
  LL_GPIO_Init(LCD_CS_GPIO_Port, &GPIO_InitStruct);

  /**/
  GPIO_InitStruct.Pin = SD_CS_Pin;
  GPIO_InitStruct.Mode = LL_GPIO_MODE_OUTPUT;
  GPIO_InitStruct.Speed = LL_GPIO_SPEED_FREQ_HIGH;
  GPIO_InitStruct.OutputType = LL_GPIO_OUTPUT_PUSHPULL;
  GPIO_InitStruct.Pull = LL_GPIO_PULL_UP;
  LL_GPIO_Init(SD_CS_GPIO_Port, &GPIO_InitStruct);

  /**/
  LL_SYSCFG_SetEXTISource(LL_SYSCFG_EXTI_PORTA, LL_SYSCFG_EXTI_LINE0);

  /**/
  LL_SYSCFG_SetEXTISource(LL_SYSCFG_EXTI_PORTA, LL_SYSCFG_EXTI_LINE1);

  /**/
  LL_SYSCFG_SetEXTISource(LL_SYSCFG_EXTI_PORTB, LL_SYSCFG_EXTI_LINE10);

  /**/
  EXTI_InitStruct.Line_0_31 = LL_EXTI_LINE_0;
  EXTI_InitStruct.LineCommand = ENABLE;
  EXTI_InitStruct.Mode = LL_EXTI_MODE_IT;
  EXTI_InitStruct.Trigger = LL_EXTI_TRIGGER_RISING_FALLING;
  LL_EXTI_Init(&EXTI_InitStruct);

  /**/
  EXTI_InitStruct.Line_0_31 = LL_EXTI_LINE_1;
  EXTI_InitStruct.LineCommand = ENABLE;
  EXTI_InitStruct.Mode = LL_EXTI_MODE_IT;
  EXTI_InitStruct.Trigger = LL_EXTI_TRIGGER_RISING_FALLING;
  LL_EXTI_Init(&EXTI_InitStruct);

  /**/
  EXTI_InitStruct.Line_0_31 = LL_EXTI_LINE_10;
  EXTI_InitStruct.LineCommand = ENABLE;
  EXTI_InitStruct.Mode = LL_EXTI_MODE_IT;
  EXTI_InitStruct.Trigger = LL_EXTI_TRIGGER_RISING_FALLING;
  LL_EXTI_Init(&EXTI_InitStruct);

  /**/
  LL_GPIO_SetPinPull(ENCODER_B_GPIO_Port, ENCODER_B_Pin, LL_GPIO_PULL_UP);

  /**/
  LL_GPIO_SetPinPull(ENCODER_A_GPIO_Port, ENCODER_A_Pin, LL_GPIO_PULL_UP);

  /**/
  LL_GPIO_SetPinPull(ENCODER_C_GPIO_Port, ENCODER_C_Pin, LL_GPIO_PULL_UP);

  /**/
  LL_GPIO_SetPinMode(ENCODER_B_GPIO_Port, ENCODER_B_Pin, LL_GPIO_MODE_INPUT);

  /**/
  LL_GPIO_SetPinMode(ENCODER_A_GPIO_Port, ENCODER_A_Pin, LL_GPIO_MODE_INPUT);

  /**/
  LL_GPIO_SetPinMode(ENCODER_C_GPIO_Port, ENCODER_C_Pin, LL_GPIO_MODE_INPUT);

  /* EXTI interrupt init*/
  NVIC_SetPriority(EXTI0_IRQn, NVIC_EncodePriority(NVIC_GetPriorityGrouping(),1, 0));
  NVIC_EnableIRQ(EXTI0_IRQn);
  NVIC_SetPriority(EXTI1_IRQn, NVIC_EncodePriority(NVIC_GetPriorityGrouping(),1, 0));
  NVIC_EnableIRQ(EXTI1_IRQn);
  NVIC_SetPriority(EXTI15_10_IRQn, NVIC_EncodePriority(NVIC_GetPriorityGrouping(),1, 0));
  NVIC_EnableIRQ(EXTI15_10_IRQn);

}

void Error_Handler(void)
{
  __disable_irq();
  while (1)
  {
  }
}
